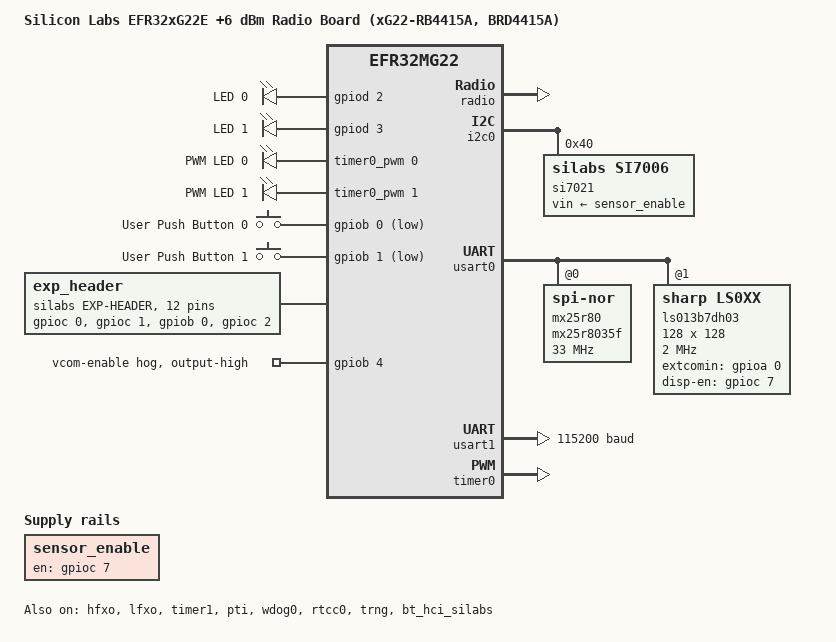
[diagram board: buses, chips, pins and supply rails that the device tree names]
/*
 * Copyright (c) 2026 Silicon Laboratories Inc.
 *
 * SPDX-License-Identifier: Apache-2.0
 */

/dts-v1/;
#include <silabs/xg22/efr32mg22e224f512im40.dtsi>
#include <silabs/xg22/clock-hfrcodpll.dtsi>
#include <silabs/xg22/clock-lfxo.dtsi>
#include <zephyr/dt-bindings/input/input-event-codes.h>
#include <zephyr/dt-bindings/pwm/pwm.h>
#include <zephyr/dt-bindings/regulator/silabs_dcdc.h>
#include "xg22_rb4415a-pinctrl.dtsi"

/ {
	model = "Silicon Labs EFR32xG22E +6 dBm Radio Board (xG22-RB4415A, BRD4415A)";
	compatible = "silabs,xg22_rb4415a", "silabs,efr32mg22";

	chosen {
		zephyr,bt-hci = &bt_hci_silabs;
		zephyr,code-partition = &slot0_partition;
		zephyr,console = &usart1;
		zephyr,display = &ls013b7dh03;
		zephyr,flash = &flash0;
		zephyr,shell-uart = &usart1;
		zephyr,sram = &sram0;
		zephyr,uart-pipe = &usart1;
	};

	aliases {
		dht0 = &si7021;
		led0 = &led0;
		led1 = &led1;
		pwm-led0 = &pwm_led0;
		pwm-led1 = &pwm_led1;
		spi-flash0 = &mx25r80;
		sw0 = &button0;
		sw1 = &button1;
		watchdog0 = &wdog0;
	};

	leds {
		compatible = "gpio-leds";

		led0: led_0 {
			gpios = <&gpiod 2 GPIO_ACTIVE_HIGH>;
			label = "LED 0";
		};

		led1: led_1 {
			gpios = <&gpiod 3 GPIO_ACTIVE_HIGH>;
			label = "LED 1";
		};
	};

	pwmleds {
		compatible = "pwm-leds";

		pwm_led0: pwm_led_0 {
			pwms = <&timer0_pwm 0 PWM_MSEC(20) PWM_POLARITY_NORMAL>;
			label = "PWM LED 0";
		};

		pwm_led1: pwm_led_1 {
			pwms = <&timer0_pwm 1 PWM_MSEC(20) PWM_POLARITY_NORMAL>;
			label = "PWM LED 1";
		};
	};

	buttons {
		compatible = "gpio-keys";

		button0: button_0 {
			gpios = <&gpiob 0 GPIO_ACTIVE_LOW>;
			label = "User Push Button 0";
			zephyr,code = <INPUT_KEY_0>;
		};

		button1: button_1 {
			gpios = <&gpiob 1 GPIO_ACTIVE_LOW>;
			label = "User Push Button 1";
			zephyr,code = <INPUT_KEY_1>;
		};
	};

	sensor_enable: gpio_switch_0 {
		compatible = "regulator-fixed";
		enable-gpios = <&gpioc 7 GPIO_ACTIVE_HIGH>;
		regulator-name = "sensor_enable";
	};

	exp_header: exp-header {
		compatible = "silabs,exp-header";
		#gpio-cells = <2>;
		gpio-map = <4 0 &gpioc 0 0>,
			   <6 0 &gpioc 1 0>,
			   <7 0 &gpiob 0 0>,
			   <8 0 &gpioc 2 0>,
			   <9 0 &gpiob 1 0>,
			   <10 0 &gpioc 3 0>,
			   <11 0 &gpiod 2 0>,
			   <12 0 &gpioa 5 0>,
			   <13 0 &gpiod 3 0>,
			   <14 0 &gpioa 6 0>,
			   <15 0 &gpiob 2 0>,
			   <16 0 &gpiob 3 0>;
		gpio-map-mask = <0xffffffff 0x0>;
		gpio-map-pass-thru = <0x0 GPIO_DT_FLAGS_MASK>;
	};
};

&dcdc {
	regulator-boot-on;
	regulator-initial-mode = <SILABS_DCDC_MODE_BUCK>;
	status = "okay";
};

&hfxo {
	ctune = <120>;
	precision = <50>;
	status = "okay";
};

&lfxo {
	ctune = <37>;
	precision = <50>;
	status = "okay";
};

&radio {
	pa-voltage-mv = <1800>;
};

&itm {
	pinctrl-0 = <&itm_default>;
	pinctrl-names = "default";
};

&i2c0 {
	pinctrl-0 = <&i2c0_default>;
	pinctrl-names = "default";
	status = "okay";

	si7021: si7021@40 {
		compatible = "silabs,si7006";
		reg = <0x40>;
		vin-supply = <&sensor_enable>;
	};
};

&usart0 {
	#address-cells = <1>;
	#size-cells = <0>;
	clock-frequency = <DT_FREQ_M(8)>;
	pinctrl-0 = <&usart0_default>;
	pinctrl-names = "default";
	status = "okay";

	cs-gpios = <&gpioa 4 GPIO_ACTIVE_LOW>, <&gpioc 6 GPIO_ACTIVE_HIGH>;

	mx25r80: mx25r8035f@0 {
		compatible = "jedec,spi-nor";
		reg = <0>;
		dpd-wakeup-sequence = <30000 20 35000>;
		has-dpd;
		jedec-id = [c2 28 14];
		mxicy,mx25r-power-mode = "low-power";
		size = <0x800000>;
		spi-max-frequency = <DT_FREQ_M(33)>;
		t-enter-dpd = <0>;
		zephyr,pm-device-runtime-auto;
	};

	ls013b7dh03: ls0xx@1 {
		compatible = "sharp,ls0xx";
		reg = <1>;
		height = <128>;
		spi-max-frequency = <DT_FREQ_M(2)>;
		width = <128>;
		extcomin-gpios = <&gpioa 0 GPIO_ACTIVE_HIGH>;
		extcomin-frequency = <60>;
		disp-en-gpios = <&gpioc 7 GPIO_ACTIVE_HIGH>;
	};
};

&usart1 {
	current-speed = <115200>;
	pinctrl-0 = <&usart1_default>;
	pinctrl-names = "default";
	status = "okay";
};

&timer0 {
	status = "okay";

	timer0_pwm: pwm {
		pinctrl-0 = <&timer0_default>;
		pinctrl-names = "default";
		status = "okay";
	};
};

&timer1 {
	status = "okay";

	timer1_counter: counter {
		status = "okay";
	};
};

&pti {
	pinctrl-0 = <&pti_default>;
	pinctrl-names = "default";
	status = "okay";
};

&gpio {
	status = "okay";
};

&gpioa {
	status = "okay";
};

&gpiob {
	status = "okay";

	vcom-enable {
		gpio-hog;
		gpios = <4 GPIO_ACTIVE_HIGH>;
		output-high;
	};
};

&gpioc {
	status = "okay";
};

&gpiod {
	status = "okay";
};

&wdog0 {
	status = "okay";
};

&rtcc0 {
	status = "okay";
};

&trng {
	status = "okay";
};

&bt_hci_silabs {
	status = "okay";
};

&flash0 {
	partitions {
		ranges;
		#address-cells = <1>;
		#size-cells = <1>;

		boot_partition: partition@0 {
			compatible = "zephyr,mapped-partition";
			reg = <0x00000000 DT_SIZE_K(48)>;
			label = "mcuboot";
		};

		slot0_partition: partition@c000 {
			compatible = "zephyr,mapped-partition";
			reg = <0x0000c000 DT_SIZE_K(224)>;
			label = "image-0";
		};

		slot1_partition: partition@44000 {
			compatible = "zephyr,mapped-partition";
			reg = <0x00044000 DT_SIZE_K(224)>;
			label = "image-1";
		};

		storage_partition: partition@7c000 {
			compatible = "zephyr,mapped-partition";
			reg = <0x0007c000 DT_SIZE_K(16)>;
			label = "storage";
		};
	};
};
